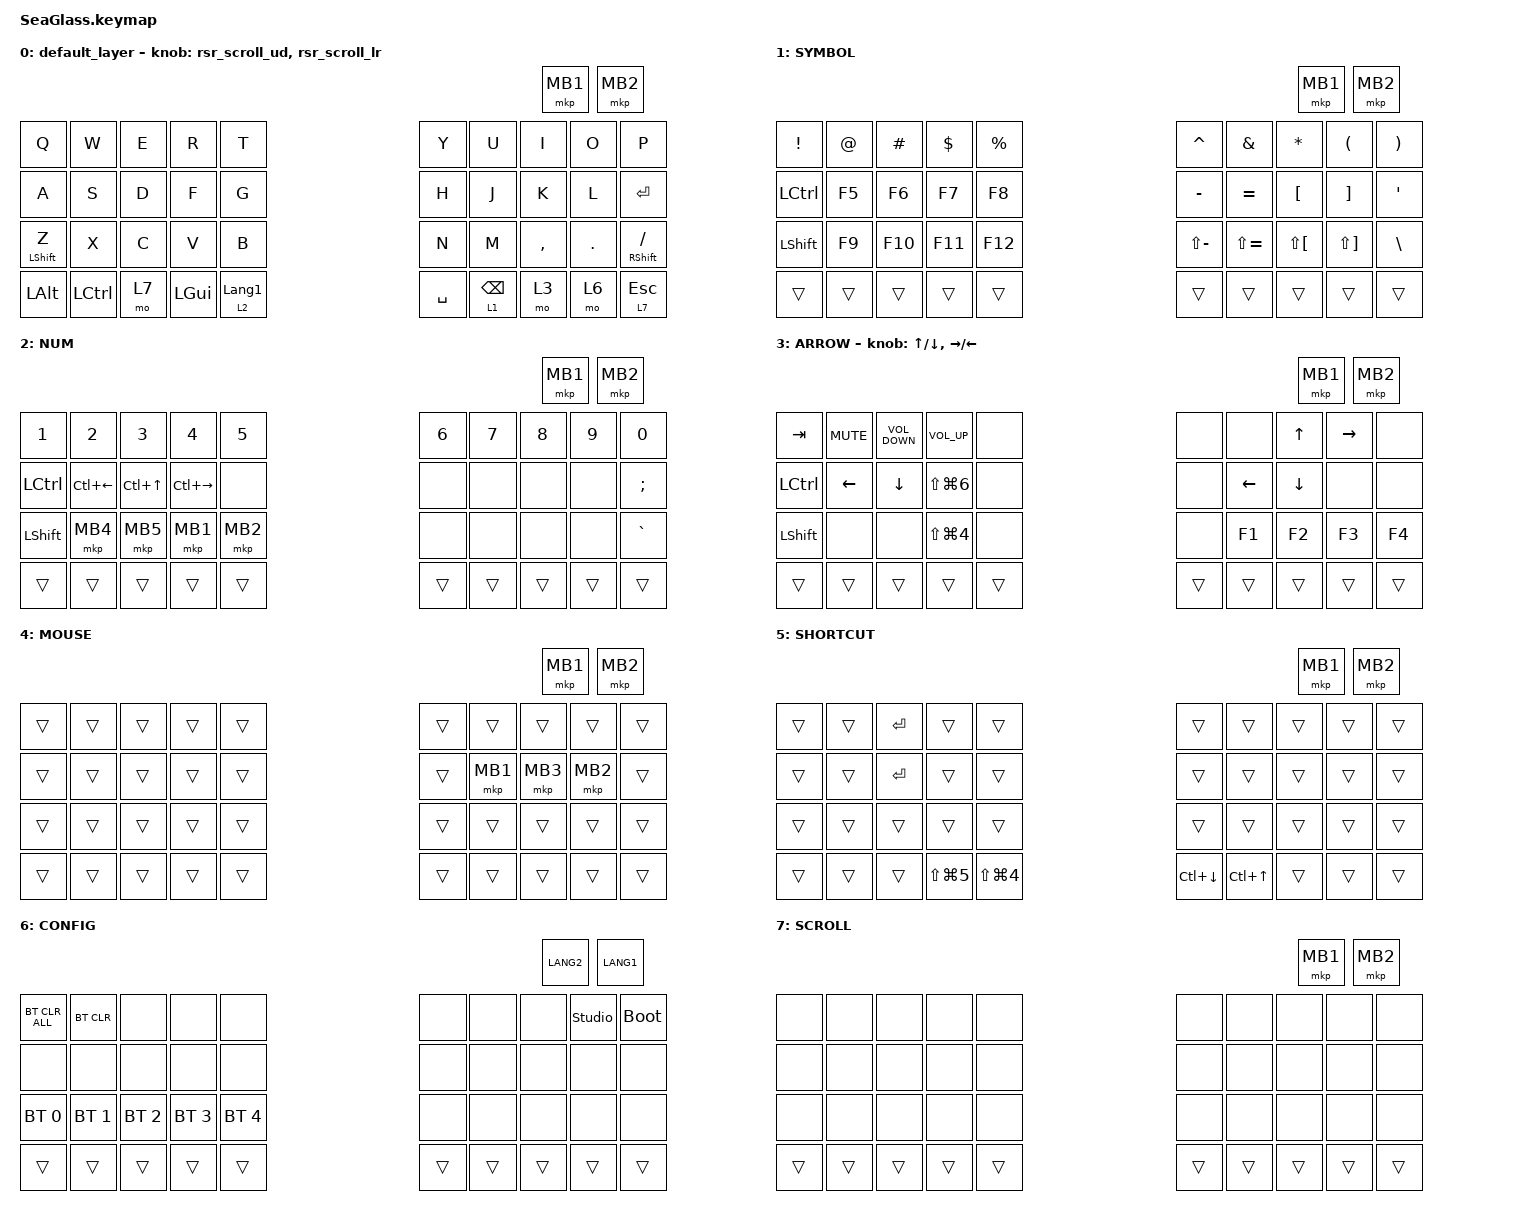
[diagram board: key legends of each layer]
#include <behaviors/runtime-sensor-rotate.dtsi>
#include <behaviors.dtsi>
#include <dt-bindings/zmk/bt.h>
#include <dt-bindings/zmk/keys.h>
#include <dt-bindings/zmk/pointing.h>

#undef ZMK_POINTING_DEFAULT_SCRL_VAL

#define ZMK_POINTING_DEFAULT_SCRL_VAL 120

&mt {
    flavor = "balanced";
    quick-tap-ms = <300>;
};

&lt {
    flavor = "balanced";
    quick-tap-ms = <300>;
};

/ {
    combos {
        compatible = "zmk,combos";

        middle-click {
            bindings = <&mkp MB3>;
            key-positions = <40 41>;
        };

        tab {
            bindings = <&kp TAB>;
            key-positions = <10 11>;
        };

        backspace {
            bindings = <&kp BACKSPACE>;
            key-positions = <8 9>;
        };

        move_window_to_right {
            bindings = <&move_window_to_right>;
            key-positions = <0 8>;
        };

        move_window_to_left {
            bindings = <&move_window_to_left>;
            key-positions = <0 16>;
        };

        adjust_window_to_right {
            bindings = <&adjust_window_to_right>;
            key-positions = <1 8>;
        };

        adjust_window_to_up {
            bindings = <&adjust_window_to_up>;
            key-positions = <1 7>;
        };

        adjust_window_to_left {
            bindings = <&adjust_window_to_left>;
            key-positions = <1 16>;
        };

        adjust_window_to_down {
            bindings = <&adjust_window_to_down>;
            key-positions = <1 17>;
        };

        adjust_c_window_right {
            bindings = <&adjust_c_window_right>;
            key-positions = <2 8>;
        };

        adjust_c_window_left {
            bindings = <&adjust_c_window_left>;
            key-positions = <2 16>;
        };

        adjust_c_window_up {
            bindings = <&adjust_c_window_up>;
            key-positions = <2 7>;
        };

        adjust_c_window_down {
            bindings = <&adjust_c_window_down>;
            key-positions = <2 17>;
        };
    };

    macros {
        to_layer_0: to_layer_0 {
            compatible = "zmk,behavior-macro-one-param";
            #binding-cells = <1>;
            bindings = <&to 0 &macro_param_1to1 &kp MACRO_PLACEHOLDER>;
            label = "TO_LAYER_0";
        };

        kakko: kakko {
            compatible = "zmk,behavior-macro";
            #binding-cells = <0>;
            bindings = <&kp LEFT_PARENTHESIS &kp RIGHT_PARENTHESIS &kp LEFT_ARROW>;
            label = "KAKKO";
        };

        dai_kakkko: daikakkko {
            compatible = "zmk,behavior-macro";
            #binding-cells = <0>;
            bindings = <&kp LEFT_BRACKET &kp RIGHT_BRACKET &kp LEFT_ARROW>;
            label = "DAIKAKKKO";
        };

        nami_kakko: nami_kakko {
            compatible = "zmk,behavior-macro";
            #binding-cells = <0>;
            bindings = <&kp LEFT_BRACE &kp RIGHT_BRACE &kp LEFT_ARROW>;
            label = "NAMI_KAKKO";
        };

        move_window_to_right: move_window_to_right {
            compatible = "zmk,behavior-macro";
            #binding-cells = <0>;
            bindings = <&kp LA(LC(LG(RIGHT_ARROW)))>;
            label = "MOVE_WINDOW_TO_RIGHT";
        };

        move_window_to_left: move_window_to_left {
            compatible = "zmk,behavior-macro";
            #binding-cells = <0>;
            bindings = <&kp LA(LC(LG(LEFT_ARROW)))>;
            label = "MOVE_WINDOW_TO_LEFT";
        };

        adjust_window_to_right: adjust_window_to_right {
            compatible = "zmk,behavior-macro";
            #binding-cells = <0>;
            bindings = <&kp LA(LG(RIGHT_ARROW))>;
            label = "ADJUST_WINDOW_TO_RIGHT";
        };

        adjust_window_to_up: adjust_window_to_top {
            compatible = "zmk,behavior-macro";
            #binding-cells = <0>;
            bindings = <&kp LA(LG(UP_ARROW))>;
            label = "ADJUST_WINDOW_TO_TOP";
        };

        adjust_window_to_left: adjust_window_to_left {
            compatible = "zmk,behavior-macro";
            #binding-cells = <0>;
            bindings = <&kp LA(LG(LEFT_ARROW))>;
            label = "ADJUST_WINDOW_TO_LEFT";
        };

        adjust_window_to_down: adjust_window_to_down {
            compatible = "zmk,behavior-macro";
            #binding-cells = <0>;
            bindings = <&kp LA(LG(DOWN_ARROW))>;
            label = "ADJUST_WINDOW_TO_DOWN";
        };

        adjust_c_window_right: adjust_c_window_right {
            compatible = "zmk,behavior-macro";
            #binding-cells = <0>;
            bindings = <&kp LC(LG(RIGHT_ARROW))>;
            label = "ADJUST_C_WINDOW_RIGHT";
        };

        adjust_c_window_left: adjust_c_window_left {
            compatible = "zmk,behavior-macro";
            #binding-cells = <0>;
            bindings = <&kp LC(LG(LEFT))>;
            label = "ADJUST_C_WINDOW_LEFT";
        };

        adjust_c_window_up: adjust_c_window_up {
            compatible = "zmk,behavior-macro";
            #binding-cells = <0>;
            bindings = <&kp LC(LG(UP_ARROW))>;
            label = "ADJUST_C_WINDOW_UP";
        };

        adjust_c_window_down: adjust_c_window_down {
            compatible = "zmk,behavior-macro";
            #binding-cells = <0>;
            bindings = <&kp LC(LG(DOWN_ARROW))>;
            label = "ADJUST_C_WINDOW_DOWN";
        };
    };

    behaviors {
        lt_to_layer_0: lt_to_layer_0 {
            compatible = "zmk,behavior-hold-tap";
            label = "LAYER_TAP_TO_0";
            bindings = <&mo>, <&to_layer_0>;

            #binding-cells = <2>;
            tapping-term-ms = <200>;
        };

        rsr_scroll_ud: rsr_scroll_ud {
            compatible = "zmk,behavior-runtime-sensor-rotate";
            #sensor-binding-cells = <0>;
            tap-ms = <20>;
            cw-binding = <&msc SCRL_UP>;
            ccw-binding = <&msc SCRL_DOWN>;
        };

        rsr_scroll_lr: rsr_scroll_lr {
            compatible = "zmk,behavior-runtime-sensor-rotate";
            #sensor-binding-cells = <0>;
            tap-ms = <20>;
            cw-binding = <&msc SCRL_LEFT>;
            ccw-binding = <&msc SCRL_RIGHT>;
        };
    };

    keymap {
        compatible = "zmk,keymap";

        default_layer {
            bindings = <
&kp Q             &kp W      &kp E  &kp R         &kp T             &kp Y      &kp U            &kp I      &kp O       &kp P
&kp A             &kp S      &kp D  &kp F         &kp G             &kp H      &kp J            &kp K      &kp L       &kp ENTER
&mt LEFT_SHIFT Z  &kp X      &kp C  &kp V         &kp B             &kp N      &kp M            &kp COMMA  &kp PERIOD  &mt RIGHT_SHIFT SLASH
&kp LEFT_ALT      &kp LCTRL  &mo 7  &kp LEFT_GUI  &lt 2 LANGUAGE_1  &kp SPACE  &lt 1 BACKSPACE  &mo 3      &mo 6       &lt 7 ESCAPE
                                                                    &mkp MB1   &mkp MB2
            >;

            sensor-bindings = <&rsr_scroll_ud &rsr_scroll_lr>;
        };

        SYMBOL {
            bindings = <
&kp EXCLAMATION  &kp AT_SIGN  &kp HASH  &kp DOLLAR  &kp PERCENT  &kp CARET      &kp AMPERSAND  &kp ASTERISK          &kp LEFT_PARENTHESIS   &kp RIGHT_PARENTHESIS
&kp LCTRL        &kp F5       &kp F6    &kp F7      &kp F8       &kp MINUS      &kp EQUAL      &kp LEFT_BRACKET      &kp RIGHT_BRACKET      &kp SINGLE_QUOTE
&kp LEFT_SHIFT   &kp F9       &kp F10   &kp F11     &kp F12      &kp LS(MINUS)  &kp LS(EQUAL)  &kp LS(LEFT_BRACKET)  &kp LS(RIGHT_BRACKET)  &kp BACKSLASH
&trans           &trans       &trans    &trans      &trans       &trans         &trans         &trans                &trans                 &trans
                                                                 &mkp MB1       &mkp MB2
            >;
        };

        NUM {
            bindings = <
&kp NUMBER_1    &kp NUMBER_2        &kp NUMBER_3      &kp NUMBER_4   &kp NUMBER_5  &kp NUMBER_6  &kp NUMBER_7  &kp NUMBER_8  &kp NUMBER_9  &kp NUMBER_0
&kp LCTRL       &kp LC(LEFT_ARROW)  &kp LC(UP_ARROW)  &kp LC(RIGHT)  &none         &none         &none         &none         &none         &kp SEMICOLON
&kp LEFT_SHIFT  &mkp MB4            &mkp MB5          &mkp MB1       &mkp MB2      &none         &none         &none         &none         &kp GRAVE
&trans          &trans              &trans            &trans         &trans        &trans        &trans        &trans        &trans        &trans
                                                                                   &mkp MB1      &mkp MB2
            >;
        };

        ARROW {
            bindings = <
&kp TAB         &kp C_MUTE      &kp C_VOLUME_DOWN  &kp C_VOLUME_UP       &none   &none     &none           &kp UP_ARROW    &kp RIGHT  &none
&kp LCTRL       &kp LEFT_ARROW  &kp DOWN_ARROW     &kp LS(LG(NUMBER_6))  &none   &none     &kp LEFT_ARROW  &kp DOWN_ARROW  &none      &none
&kp LEFT_SHIFT  &none           &none              &kp LS(LG(NUMBER_4))  &none   &none     &kp F1          &kp F2          &kp F3     &kp F4
&trans          &trans          &trans             &trans                &trans  &trans    &trans          &trans          &trans     &trans
                                                                                 &mkp MB1  &mkp MB2
            >;

            sensor-bindings =
                <&inc_dec_kp UP_ARROW DOWN_ARROW>,
                <&inc_dec_kp RIGHT_ARROW LEFT_ARROW>;
        };

        MOUSE {
            bindings = <
&trans  &trans  &trans  &trans  &trans  &trans    &trans    &trans    &trans    &trans
&trans  &trans  &trans  &trans  &trans  &trans    &mkp MB1  &mkp MB3  &mkp MB2  &trans
&trans  &trans  &trans  &trans  &trans  &trans    &trans    &trans    &trans    &trans
&trans  &trans  &trans  &trans  &trans  &trans    &trans    &trans    &trans    &trans
                                        &mkp MB1  &mkp MB2
            >;
        };

        SHORTCUT {
            bindings = <
&trans  &trans  &kp ENTER  &trans          &trans          &trans              &trans            &trans  &trans  &trans
&trans  &trans  &kp ENTER  &trans          &trans          &trans              &trans            &trans  &trans  &trans
&trans  &trans  &trans     &trans          &trans          &trans              &trans            &trans  &trans  &trans
&trans  &trans  &trans     &kp LS(LG(N5))  &kp LS(LG(N4))  &kp LC(DOWN_ARROW)  &kp LC(UP_ARROW)  &trans  &trans  &trans
                                                           &mkp MB1            &mkp MB2
            >;
        };

        CONFIG {
            bindings = <
&bt BT_CLR_ALL  &bt BT_CLR    &none         &none         &none         &none      &none      &none   &studio_unlock  &bootloader
&none           &none         &none         &none         &none         &none      &none      &none   &none           &none
&bt BT_SEL 0    &bt BT_SEL 1  &bt BT_SEL 2  &bt BT_SEL 3  &bt BT_SEL 4  &none      &none      &none   &none           &none
&trans          &trans        &trans        &trans        &trans        &trans     &trans     &trans  &trans          &trans
                                                                        &kp LANG2  &kp LANG1
            >;
        };

        SCROLL {
            bindings = <
&none   &none   &none   &none   &none   &none     &none     &none   &none   &none
&none   &none   &none   &none   &none   &none     &none     &none   &none   &none
&none   &none   &none   &none   &none   &none     &none     &none   &none   &none
&trans  &trans  &trans  &trans  &trans  &trans    &trans    &trans  &trans  &trans
                                        &mkp MB1  &mkp MB2
            >;
        };
    };
};
